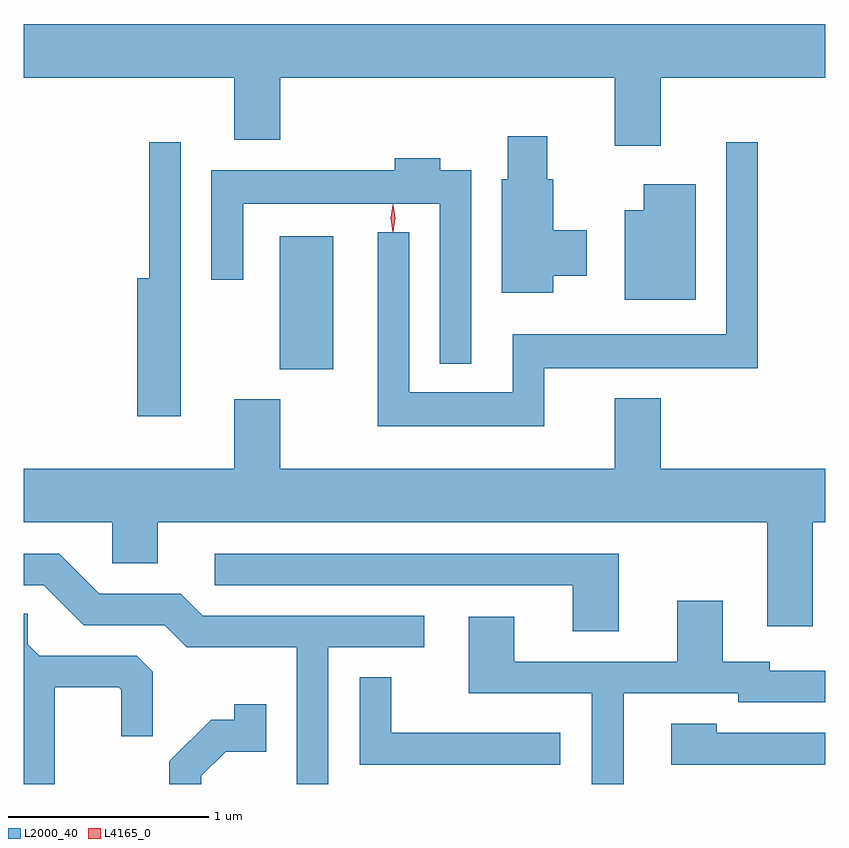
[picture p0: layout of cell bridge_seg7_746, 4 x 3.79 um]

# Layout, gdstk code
import gdstk
lib = gdstk.Library(unit=1e-6, precision=1e-09)
def R(c, l, rs):  # rectangles x0, y0, x1, y1
    for r in rs: c.add(gdstk.rectangle(r[:2], r[2:], *l))
def P(c, l, *ps):  # polygons
    for p in ps: c.add(gdstk.Polygon(p, *l))
L2000_40 = (2000, 40)
L4165_0 = (4165, 0)

bridge_seg7_746 = lib.new_cell('bridge_seg7_746')
R(bridge_seg7_746, L2000_40, [(499.796,1759.481,500.064,1760.144)])
P(bridge_seg7_746, L2000_40, [(501.699,1760.936),(502.52,1760.936),(502.52,1761.204),(498.52,1761.204),(498.52,1760.936),(499.571,1760.936),(499.571,1760.626),(499.799,1760.626),(499.799,1760.936),(501.471,1760.936),(501.471,1760.596),(501.699,1760.596)],
  [(501.164,1759.946),(501.329,1759.946),(501.329,1760.174),(501.164,1760.174),(501.164,1760.429),(501.134,1760.429),(501.134,1760.644),(500.936,1760.644),(500.936,1760.429),(500.906,1760.429),(500.906,1759.861),(501.164,1759.861)],
  [(501.119,1759.486),(502.184,1759.486),(502.184,1760.613),(502.026,1760.613),(502.026,1759.654),(500.961,1759.654),(500.961,1759.364),(500.444,1759.364),(500.444,1760.163),(500.286,1760.163),(500.286,1759.196),(501.119,1759.196)],
  [(499.304,1760.613),(499.146,1760.613),(499.146,1759.934),(499.086,1759.934),(499.086,1759.246),(499.304,1759.246)],
  [(500.754,1760.474),(500.599,1760.474),(500.599,1760.534),(500.371,1760.534),(500.371,1760.474),(499.456,1760.474),(499.456,1759.928),(499.614,1759.928),(499.614,1760.306),(500.596,1760.306),(500.596,1759.508),(500.754,1759.508)],
  [(501.874,1760.404),(501.616,1760.404),(501.616,1760.274),(501.521,1760.274),(501.521,1759.826),(501.874,1759.826)],
  [(502.459,1758.716),(502.52,1758.716),(502.52,1758.984),(501.699,1758.984),(501.699,1759.334),(501.471,1759.334),(501.471,1758.984),(499.799,1758.984),(499.799,1759.329),(499.571,1759.329),(499.571,1758.984),(498.52,1758.984),(498.52,1758.716),(498.961,1758.716),(498.961,1758.511),(499.189,1758.511),(499.189,1758.716),(502.231,1758.716),(502.231,1758.196),(502.459,1758.196)],
  [(501.489,1758.559),(499.473,1758.559),(499.473,1758.401),(501.261,1758.401),(501.261,1758.171),(501.489,1758.171)],
  [(500.039,1758.091),(500.518,1758.091),(500.518,1758.249),(499.412,1758.249),(499.302,1758.359),(498.897,1758.359),(498.697,1758.559),(498.52,1758.559),(498.52,1758.401),(498.619,1758.401),(498.819,1758.201),(499.224,1758.201),(499.334,1758.091),(499.881,1758.091),(499.881,1757.409),(500.039,1757.409)],
  [(501.514,1757.861),(502.086,1757.861),(502.086,1757.816),(502.52,1757.816),(502.52,1757.974),(502.244,1757.974),(502.244,1758.019),(502.009,1758.019),(502.009,1758.324),(501.781,1758.324),(501.781,1758.019),(500.969,1758.019),(500.969,1758.244),(500.741,1758.244),(500.741,1757.861),(501.356,1757.861),(501.356,1757.409),(501.514,1757.409)],
  [(498.674,1757.891),(498.994,1757.891),(499.006,1757.879),(499.006,1757.648),(499.164,1757.648),(499.164,1757.969),(499.084,1758.049),(498.597,1758.049),(498.539,1758.107),(498.539,1758.258),(498.52,1758.258),(498.52,1757.409),(498.674,1757.409)],
  [(501.198,1757.664),(500.354,1757.664),(500.354,1757.943),(500.196,1757.943),(500.196,1757.506),(501.198,1757.506)],
  [(499.404,1757.449),(499.527,1757.571),(499.729,1757.571),(499.729,1757.808),(499.571,1757.808),(499.571,1757.729),(499.454,1757.729),(499.246,1757.522),(499.246,1757.409),(499.404,1757.409)],
  [(502.52,1757.664),(501.979,1757.664),(501.979,1757.709),(501.751,1757.709),(501.751,1757.506),(502.52,1757.506)])
P(bridge_seg7_746, L4165_0, [(500.362,1760.164),(500.362,1760.164),(500.352,1760.233),(500.362,1760.302),(500.362,1760.303),(500.363,1760.302),(500.372,1760.233),(500.363,1760.164)],
  [(500.364,1760.167),(500.355,1760.234),(500.364,1760.3),(500.365,1760.3),(500.365,1760.3),(500.375,1760.234),(500.365,1760.167),(500.365,1760.167)])

lib.write_gds('bridge_seg7_746.gds')
